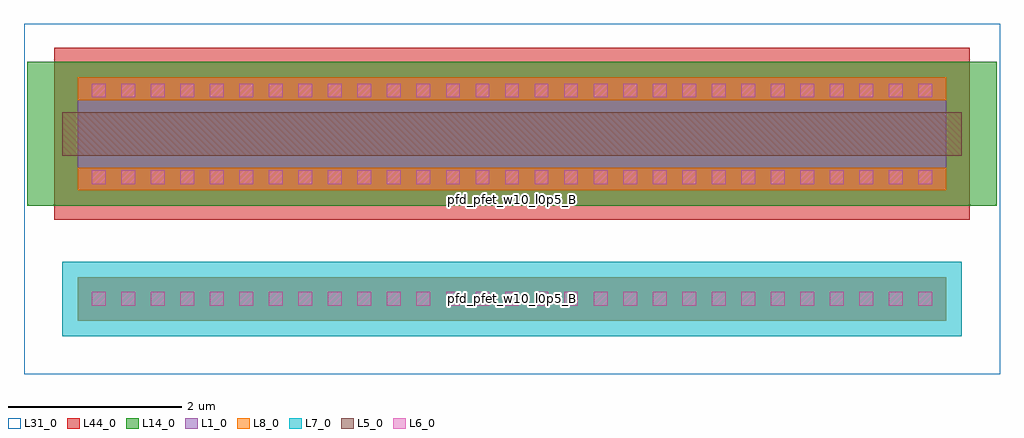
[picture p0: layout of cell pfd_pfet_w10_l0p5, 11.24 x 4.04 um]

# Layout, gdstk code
import gdstk
lib = gdstk.Library(unit=1e-6, precision=1e-09)
def R(c, l, rs):  # rectangles x0, y0, x1, y1
    for r in rs: c.add(gdstk.rectangle(r[:2], r[2:], *l))
def A(c, l, x, y, w, h, nx, ny, dx, dy):  # array of equal rectangles
    R(c, l, [(x+i*dx, y+j*dy, x+i*dx+w, y+j*dy+h) for i in range(nx) for j in range(ny)])
L1_0 = (1, 0)
L5_0 = (5, 0)
L6_0 = (6, 0)
L7_0 = (7, 0)
L8_0 = (8, 0)
L14_0 = (14, 0)
L31_0 = (31, 0)
L44_0 = (44, 0)

pfd_pfet_w10_l0p5 = lib.new_cell('pfd_pfet_w10_l0p5')
R(pfd_pfet_w10_l0p5, L1_0, [(1.2,0.96,11.2,1.46), (1.2,2.46,11.2,3.76)])
R(pfd_pfet_w10_l0p5, L5_0, [(1.02,2.86,11.38,3.36)])
A(pfd_pfet_w10_l0p5, L6_0, 1.36, 1.13, 0.16, 0.16, 29, 2, 0.34, 1.4)
A(pfd_pfet_w10_l0p5, L6_0, 1.36, 3.53, 0.16, 0.16, 29, 1, 0.34, 0)
R(pfd_pfet_w10_l0p5, L7_0, [(1.02,0.78,11.38,1.64)])
R(pfd_pfet_w10_l0p5, L8_0, [(1.2,0.96,11.2,1.46), (1.2,2.46,11.2,2.72), (1.2,3.5,11.2,3.76)])
R(pfd_pfet_w10_l0p5, L14_0, [(0.62,2.28,11.78,3.94)])
R(pfd_pfet_w10_l0p5, L31_0, [(0.58,0.34,11.82,4.38)])
R(pfd_pfet_w10_l0p5, L44_0, [(0.93,2.12,11.47,4.1)])
pfd_pfet_w10_l0p5.add(gdstk.Label('pfd_pfet_w10_l0p5_B', (6.2,1.21), layer=8, texttype=2))
pfd_pfet_w10_l0p5.add(gdstk.Label('pfd_pfet_w10_l0p5_B', (6.2,2.36), layer=31, texttype=2))

lib.write_gds('pfd_pfet_w10_l0p5.gds')
